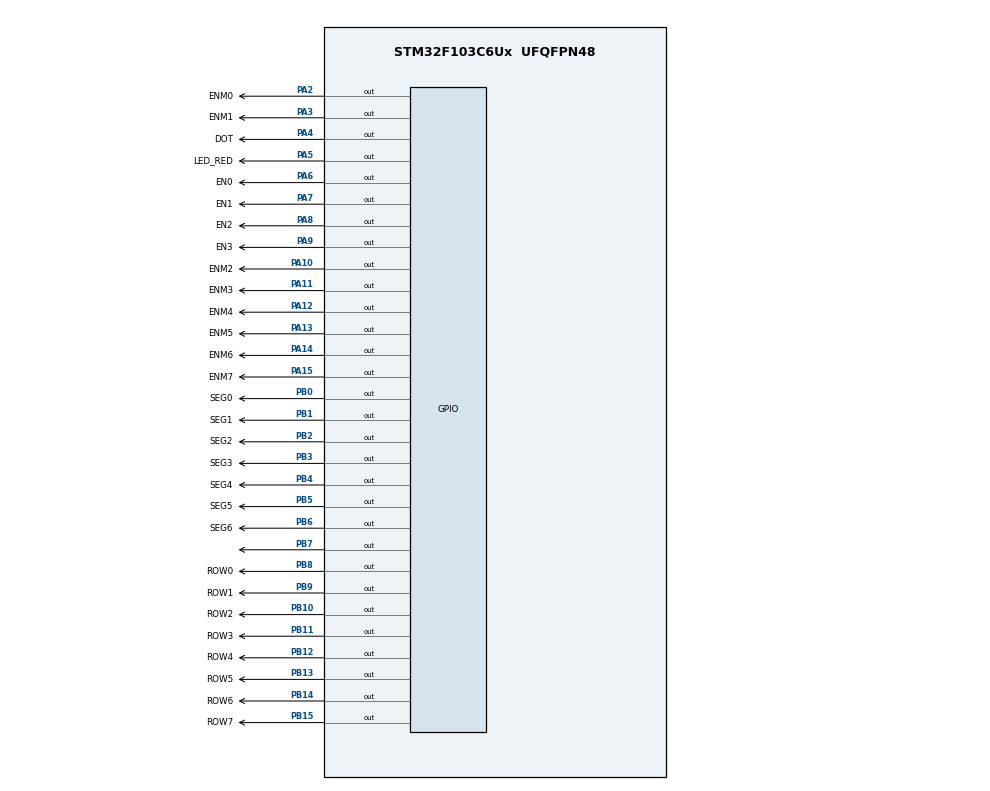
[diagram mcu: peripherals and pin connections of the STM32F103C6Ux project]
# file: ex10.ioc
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Mcu.Family=STM32F1
Mcu.Name=STM32F103C6Ux
Mcu.Package=UFQFPN48
NVIC.PriorityGroup=NVIC_PRIORITYGROUP_4
NVIC.TIM2_IRQn=true\:0\:0\:false\:false\:true\:true\:true
PA10.GPIO_Label=ENM2
PA10.Signal=GPIO_Output
PA11.GPIO_Label=ENM3
PA11.Signal=GPIO_Output
PA12.GPIO_Label=ENM4
PA12.Signal=GPIO_Output
PA13.GPIO_Label=ENM5
PA13.Signal=GPIO_Output
PA14.GPIO_Label=ENM6
PA14.Signal=GPIO_Output
PA15.GPIO_Label=ENM7
PA15.Signal=GPIO_Output
PA2.GPIO_Label=ENM0
PA2.Signal=GPIO_Output
PA3.GPIO_Label=ENM1
PA3.Signal=GPIO_Output
PA4.GPIO_Label=DOT
PA4.Signal=GPIO_Output
PA5.GPIO_Label=LED_RED
PA5.Signal=GPIO_Output
PA6.GPIO_Label=EN0
PA6.Signal=GPIO_Output
PA7.GPIO_Label=EN1
PA7.Signal=GPIO_Output
PA8.GPIO_Label=EN2
PA8.Signal=GPIO_Output
PA9.GPIO_Label=EN3
PA9.Signal=GPIO_Output
PB0.GPIO_Label=SEG0
PB0.Signal=GPIO_Output
PB1.GPIO_Label=SEG1
PB1.Signal=GPIO_Output
PB10.GPIO_Label=ROW2
PB10.Signal=GPIO_Output
PB11.GPIO_Label=ROW3
PB11.Signal=GPIO_Output
PB12.GPIO_Label=ROW4
PB12.Signal=GPIO_Output
PB13.GPIO_Label=ROW5
PB13.Signal=GPIO_Output
PB14.GPIO_Label=ROW6
PB14.Signal=GPIO_Output
PB15.GPIO_Label=ROW7
PB15.Signal=GPIO_Output
PB2.GPIO_Label=SEG2
PB2.Signal=GPIO_Output
PB3.GPIO_Label=SEG3
PB3.Signal=GPIO_Output
PB4.GPIO_Label=SEG4
PB4.Signal=GPIO_Output
PB5.GPIO_Label=SEG5
PB5.Signal=GPIO_Output
PB6.GPIO_Label=SEG6
PB6.Signal=GPIO_Output
PB7.Signal=GPIO_Output
PB8.GPIO_Label=ROW0
PB8.Signal=GPIO_Output
PB9.GPIO_Label=ROW1
PB9.Signal=GPIO_Output
ProjectManager.HeapSize=0x200
ProjectManager.StackSize=0x400
ProjectManager.TargetToolchain=STM32CubeIDE
RCC.APB1Freq_Value=8000000
RCC.APB2Freq_Value=8000000
TIM2.Period=9
TIM2.Prescaler=799
VP_SYS_VS_ND.Mode=No_Debug
VP_TIM2_VS_ClockSourceINT.Mode=Internal
board=custom

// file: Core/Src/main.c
/* USER CODE BEGIN Header */
/**
  ******************************************************************************
  * @file           : main.c
  * @brief          : Main program body
  ******************************************************************************
  * @attention
  *
  * <h2><center>&copy; Copyright (c) 2026 STMicroelectronics.
  * All rights reserved.</center></h2>
  *
  * This software component is licensed by ST under BSD 3-Clause license,
  * the "License"; You may not use this file except in compliance with the
  * License. You may obtain a copy of the License at:
  *                        opensource.org/licenses/BSD-3-Clause
  *
  ******************************************************************************
  */
/* USER CODE END Header */
#include "main.h"

/* USER CODE BEGIN PD */
#define LED_SCAN_MS 5
#define MATRIX_SCAN_MS 2
#define MATRIX_SCROLL_MS 300
/* USER CODE END PD */

TIM_HandleTypeDef htim2;

/* USER CODE BEGIN PV */
const int MAX_LED= 4;
int index_led= 0;
int led_buffer[4]= {1, 2, 3, 4};

const int MAX_LED_MATRIX= 8;
int index_led_matrix= 0;
uint8_t matrix_buffer[8]= {0xFF, 0x81, 0xEE, 0xEE, 0xEE, 0x81, 0xFF, 0xFF};

int hour= 15;
int minute= 8;
int second= 50;

const int TIMER_CYCLE= 1; // TIM2 tick: 1 ms.

volatile int timer0_counter= 0;
volatile int timer0_flag= 0;

volatile int timer1_counter= 0;
volatile int timer1_flag= 0;

volatile int timer2_counter= 0;
volatile int timer2_flag= 0;

volatile int timer3_counter= 0;
volatile int timer3_flag= 0;

const uint8_t LED7_HEX[10] = {
    0x3F, 0x06, 0x5B, 0x4F, 0x66, 0x6D, 0x7D, 0x07, 0x7F, 0x6F
};

const uint16_t SEG_PINS[7] = {
    SEG0_Pin, SEG1_Pin, SEG2_Pin, SEG3_Pin, SEG4_Pin, SEG5_Pin, SEG6_Pin
};
/* USER CODE END PV */

void SystemClock_Config(void);
static void MX_GPIO_Init(void);
static void MX_TIM2_Init(void);
/* USER CODE BEGIN PFP */
void display7SEG(int num);
void update7SEG(int index);
void updateClockBuffer(void);
void updateLEDMatrix(int index);
void setTimer0(int duration);
void setTimer1(int duration);
void setTimer2(int duration);
void timer_run(void);
void setTimer3(int duration);
void shiftLEDMatrixLeft(void);
/* USER CODE END PFP */

/* USER CODE BEGIN 0 */
void setTimer0(int duration) {
    timer0_counter= duration/TIMER_CYCLE;
    timer0_flag= 0;
}

void setTimer1(int duration) {
    timer1_counter= duration/TIMER_CYCLE;
    timer1_flag= 0;
}

void setTimer2(int duration) {
    timer2_counter= duration/TIMER_CYCLE;
    timer2_flag= 0;
}

void setTimer3(int duration) {
    timer3_counter= duration/TIMER_CYCLE;
    timer3_flag= 0;
}

void timer_run(void) {
    if (timer0_counter> 0) {
        timer0_counter--;
        if (timer0_counter== 0) {
            timer0_flag= 1;
        }
    }

    if (timer1_counter> 0) {
        timer1_counter--;
        if (timer1_counter== 0) {
            timer1_flag= 1;
        }
    }

    if (timer2_counter> 0) {
        timer2_counter--;
        if (timer2_counter== 0) {
            timer2_flag= 1;
        }
    }

    if (timer3_counter> 0) {
        timer3_counter--;
        if (timer3_counter== 0) {
            timer3_flag= 1;
        }
    }
}
/* USER CODE END 0 */

int main(void)
{

  /* MCU Configuration--------------------------------------------------------*/

  /* Reset of all peripherals, Initializes the Flash interface and the Systick. */
  HAL_Init();

  /* Configure the system clock */
  SystemClock_Config();

  /* Initialize all configured peripherals */
  MX_GPIO_Init();
  MX_TIM2_Init();
  /* USER CODE BEGIN 2 */
  HAL_GPIO_WritePin(GPIOA, EN0_Pin|EN1_Pin|EN2_Pin|EN3_Pin, GPIO_PIN_SET);
  HAL_GPIO_WritePin(GPIOA, ENM0_Pin|ENM1_Pin|ENM2_Pin|ENM3_Pin|ENM4_Pin|ENM5_Pin|ENM6_Pin|ENM7_Pin, GPIO_PIN_SET);
  HAL_GPIO_WritePin(GPIOB, 0xFF00, GPIO_PIN_SET);
  updateClockBuffer();

  setTimer0(1000);
  setTimer1(LED_SCAN_MS);
  setTimer2(MATRIX_SCAN_MS);
  setTimer3(MATRIX_SCROLL_MS);

  HAL_TIM_Base_Start_IT(&htim2);

  /* USER CODE END 2 */

  /* Infinite loop */
  /* USER CODE BEGIN WHILE */
  while (1)
  {
      if (timer2_flag==1) {
          setTimer2(MATRIX_SCAN_MS);

          // Change the image only before the first column of a new frame.
          if (index_led_matrix== 0 && timer3_flag== 1) {
              setTimer3(MATRIX_SCROLL_MS);
              shiftLEDMatrixLeft();
          }

          updateLEDMatrix(index_led_matrix++);
          if (index_led_matrix>= MAX_LED_MATRIX) {
              index_led_matrix= 0;
          }
      }

      if (timer1_flag== 1) {
          setTimer1(LED_SCAN_MS);

          update7SEG(index_led++);
          if (index_led>=MAX_LED) {
              index_led= 0;
          }
      }

      if (timer0_flag==1) {
          setTimer0(1000);

          HAL_GPIO_TogglePin(GPIOA, DOT_Pin);

          second++;
          if (second>=60) {
              second= 0;
              minute++;
          }
          if (minute>= 60) {
              minute= 0;
              hour++;
          }
          if (hour>= 24) {
              hour= 0;
          }

          updateClockBuffer();
      }
  }
  /* USER CODE END WHILE */

}

void SystemClock_Config(void)
{
  RCC_OscInitTypeDef RCC_OscInitStruct = {0};
  RCC_ClkInitTypeDef RCC_ClkInitStruct = {0};

  /** Initializes the RCC Oscillators according to the specified parameters
  * in the RCC_OscInitTypeDef structure.
  */
  RCC_OscInitStruct.OscillatorType = RCC_OSCILLATORTYPE_HSI;
  RCC_OscInitStruct.HSIState = RCC_HSI_ON;
  RCC_OscInitStruct.HSICalibrationValue = RCC_HSICALIBRATION_DEFAULT;
  RCC_OscInitStruct.PLL.PLLState = RCC_PLL_NONE;
  if (HAL_RCC_OscConfig(&RCC_OscInitStruct) != HAL_OK)
  {
    Error_Handler();
  }
  /** Initializes the CPU, AHB and APB buses clocks
  */
  RCC_ClkInitStruct.ClockType = RCC_CLOCKTYPE_HCLK|RCC_CLOCKTYPE_SYSCLK
                              |RCC_CLOCKTYPE_PCLK1|RCC_CLOCKTYPE_PCLK2;
  RCC_ClkInitStruct.SYSCLKSource = RCC_SYSCLKSOURCE_HSI;
  RCC_ClkInitStruct.AHBCLKDivider = RCC_SYSCLK_DIV1;
  RCC_ClkInitStruct.APB1CLKDivider = RCC_HCLK_DIV1;
  RCC_ClkInitStruct.APB2CLKDivider = RCC_HCLK_DIV1;

  if (HAL_RCC_ClockConfig(&RCC_ClkInitStruct, FLASH_LATENCY_0) != HAL_OK)
  {
    Error_Handler();
  }
}

static void MX_TIM2_Init(void)
{

  TIM_ClockConfigTypeDef sClockSourceConfig = {0};
  TIM_MasterConfigTypeDef sMasterConfig = {0};

  htim2.Instance = TIM2;
  htim2.Init.Prescaler = 799;
  htim2.Init.CounterMode = TIM_COUNTERMODE_UP;
  htim2.Init.Period = 9;
  htim2.Init.ClockDivision = TIM_CLOCKDIVISION_DIV1;
  htim2.Init.AutoReloadPreload = TIM_AUTORELOAD_PRELOAD_DISABLE;
  if (HAL_TIM_Base_Init(&htim2) != HAL_OK)
  {
    Error_Handler();
  }
  sClockSourceConfig.ClockSource = TIM_CLOCKSOURCE_INTERNAL;
  if (HAL_TIM_ConfigClockSource(&htim2, &sClockSourceConfig) != HAL_OK)
  {
    Error_Handler();
  }
  sMasterConfig.MasterOutputTrigger = TIM_TRGO_RESET;
  sMasterConfig.MasterSlaveMode = TIM_MASTERSLAVEMODE_DISABLE;
  if (HAL_TIMEx_MasterConfigSynchronization(&htim2, &sMasterConfig) != HAL_OK)
  {
    Error_Handler();
  }

}

static void MX_GPIO_Init(void)
{
  GPIO_InitTypeDef GPIO_InitStruct = {0};

  /* GPIO Ports Clock Enable */
  __HAL_RCC_GPIOA_CLK_ENABLE();
  __HAL_RCC_GPIOB_CLK_ENABLE();

  /*Configure GPIO pin Output Level */
  HAL_GPIO_WritePin(GPIOA, DOT_Pin|LED_RED_Pin|EN0_Pin|EN1_Pin
                          |EN2_Pin|EN3_Pin|ENM0_Pin|ENM1_Pin
                          |ENM2_Pin|ENM3_Pin|ENM4_Pin|ENM5_Pin
                          |ENM6_Pin|ENM7_Pin, GPIO_PIN_RESET);

  /*Configure GPIO pin Output Level */
  HAL_GPIO_WritePin(GPIOB, SEG0_Pin|SEG1_Pin|SEG2_Pin|SEG3_Pin
                          |SEG4_Pin|SEG5_Pin|SEG6_Pin|ROW0_Pin
                          |ROW1_Pin|ROW2_Pin|ROW3_Pin|ROW4_Pin
                          |ROW5_Pin|ROW6_Pin|ROW7_Pin, GPIO_PIN_RESET);

  /*Configure GPIO pins : DOT_Pin LED_RED_Pin EN0_Pin EN1_Pin
                           EN2_Pin EN3_Pin ENM0_Pin ENM1_Pin
                           ENM2_Pin ENM3_Pin ENM4_Pin ENM5_Pin
                           ENM6_Pin ENM7_Pin */
  GPIO_InitStruct.Pin = DOT_Pin|LED_RED_Pin|EN0_Pin|EN1_Pin
                          |EN2_Pin|EN3_Pin|ENM0_Pin|ENM1_Pin
                          |ENM2_Pin|ENM3_Pin|ENM4_Pin|ENM5_Pin
                          |ENM6_Pin|ENM7_Pin;
  GPIO_InitStruct.Mode = GPIO_MODE_OUTPUT_PP;
  GPIO_InitStruct.Pull = GPIO_NOPULL;
  GPIO_InitStruct.Speed = GPIO_SPEED_FREQ_LOW;
  HAL_GPIO_Init(GPIOA, &GPIO_InitStruct);

  /*Configure GPIO pins : SEG0_Pin SEG1_Pin SEG2_Pin SEG3_Pin
                           SEG4_Pin SEG5_Pin SEG6_Pin ROW0_Pin
                           ROW1_Pin ROW2_Pin ROW3_Pin ROW4_Pin
                           ROW5_Pin ROW6_Pin ROW7_Pin */
  GPIO_InitStruct.Pin = SEG0_Pin|SEG1_Pin|SEG2_Pin|SEG3_Pin
                          |SEG4_Pin|SEG5_Pin|SEG6_Pin|ROW0_Pin
                          |ROW1_Pin|ROW2_Pin|ROW3_Pin|ROW4_Pin
                          |ROW5_Pin|ROW6_Pin|ROW7_Pin;
  GPIO_InitStruct.Mode = GPIO_MODE_OUTPUT_PP;
  GPIO_InitStruct.Pull = GPIO_NOPULL;
  GPIO_InitStruct.Speed = GPIO_SPEED_FREQ_LOW;
  HAL_GPIO_Init(GPIOB, &GPIO_InitStruct);

}

/* USER CODE BEGIN 4 */
void display7SEG(int num) {
    if (num<0 || num>9) return;
    uint8_t code = LED7_HEX[num];

    for (int i= 0; i< 7; i++) {
        GPIO_PinState state = (code& (1<<i)) ? GPIO_PIN_RESET : GPIO_PIN_SET;
        HAL_GPIO_WritePin(GPIOB, SEG_PINS[i], state);
    }
}

void update7SEG(int index) {
    HAL_GPIO_WritePin(GPIOA, EN0_Pin|EN1_Pin|EN2_Pin|EN3_Pin, GPIO_PIN_SET);

    switch (index) {
        case 0:
            display7SEG(led_buffer[0]);
            HAL_GPIO_WritePin(GPIOA, EN0_Pin, GPIO_PIN_RESET);
            break;
        case 1:
            display7SEG(led_buffer[1]);
            HAL_GPIO_WritePin(GPIOA, EN1_Pin, GPIO_PIN_RESET);
            break;
        case 2:
            display7SEG(led_buffer[2]);
            HAL_GPIO_WritePin(GPIOA, EN2_Pin, GPIO_PIN_RESET);
            break;
        case 3:
            display7SEG(led_buffer[3]);
            HAL_GPIO_WritePin(GPIOA, EN3_Pin, GPIO_PIN_RESET);
            break;
        default:
            break;
    }
}

void updateClockBuffer(void) {
    led_buffer[0]= hour/10;
    led_buffer[1]= hour%10;
    led_buffer[2]= minute/10;
    led_buffer[3]= minute%10;
}

void updateLEDMatrix(int index) {
    if (index<0 || index>=MAX_LED_MATRIX) return;

    HAL_GPIO_WritePin(GPIOA, ENM0_Pin|ENM1_Pin|ENM2_Pin|ENM3_Pin|ENM4_Pin|ENM5_Pin|ENM6_Pin|ENM7_Pin, GPIO_PIN_SET);

    GPIOB->ODR = (GPIOB->ODR & 0x00FF) | ((uint16_t)(matrix_buffer[index]) << 8);

    switch (index) {
        case 0:
            HAL_GPIO_WritePin(GPIOA, ENM0_Pin, GPIO_PIN_RESET);
            break;
        case 1:
            HAL_GPIO_WritePin(GPIOA, ENM1_Pin, GPIO_PIN_RESET);
            break;
        case 2:
            HAL_GPIO_WritePin(GPIOA, ENM2_Pin, GPIO_PIN_RESET);
            break;
        case 3:
            HAL_GPIO_WritePin(GPIOA, ENM3_Pin, GPIO_PIN_RESET);
            break;
        case 4:
            HAL_GPIO_WritePin(GPIOA, ENM4_Pin, GPIO_PIN_RESET);
            break;
        case 5:
            HAL_GPIO_WritePin(GPIOA, ENM5_Pin, GPIO_PIN_RESET);
            break;
        case 6:
            HAL_GPIO_WritePin(GPIOA, ENM6_Pin, GPIO_PIN_RESET);
            break;
        case 7:
            HAL_GPIO_WritePin(GPIOA, ENM7_Pin, GPIO_PIN_RESET);
            break;
        default:
            break;
    }
}

void shiftLEDMatrixLeft(void) {
    uint8_t first_column= matrix_buffer[0];

    for (int i= 0; i<MAX_LED_MATRIX-1; i++) {
        matrix_buffer[i]= matrix_buffer[i+1];
    }
    matrix_buffer[MAX_LED_MATRIX-1]= first_column;
}

void HAL_TIM_PeriodElapsedCallback(TIM_HandleTypeDef *htim) {
    if (htim->Instance==TIM2) {
        timer_run();
    }
}
/* USER CODE END 4 */

void Error_Handler(void)
{
  __disable_irq();
  while (1)
  {
  }
}

/************************ (C) COPYRIGHT STMicroelectronics *****END OF FILE****/
